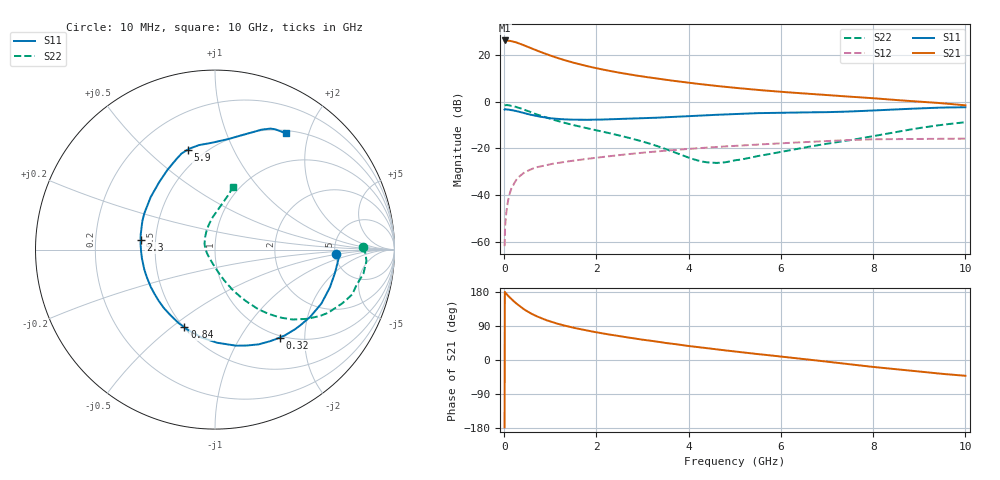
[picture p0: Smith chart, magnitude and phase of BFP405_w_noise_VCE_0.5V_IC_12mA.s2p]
! Infineon Technologies  Discrete & RF Semiconductors
! BFP405
! VCE =  0.5 V,  IC =  12 mA
! Common Emitter S-Parameters:  Jan 2016
# GHz  S  MA  R  50
!  f  S11  S21  S12  S22
! GHz  MAG  ANG  MAG  ANG  MAG  ANG  MAG  ANG
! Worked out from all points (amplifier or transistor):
!   233 points, 10 MHz to 10 GHz, reference 50 ohm
!   highest |S21| = 26.2 dB at 20 MHz (marker M1)
!   |S21| within 3 dB of that: start of sweep to 545.4 MHz
!   unconditionally stable (mu >= 1): start of sweep to 41.16 MHz; 1.35 GHz to end of sweep
!   at 200 MHz: K = 0.36, MSG = 30.7 dB, |S12| = -35.7 dB
!   at 1.74 GHz: K = 1.17, MAG = 17.6 dB, |S12| = -24.7 dB
!   at 10 GHz: K = 1.70, MAG = 2.2 dB, |S12| = -15.8 dB
!   lowest NFmin = 1.77 dB at 900 MHz
!   S11 on the Smith chart (normalised r, x): 10 MHz: 5.11, -0.42; 320 MHz: 0.97, -1.51; 840 MHz: 0.50, -0.56; 2.3 GHz: 0.41, +0.05; 5.9 GHz: 0.41, +0.68; 10 GHz: 0.54, +1.65
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0.01  0.6744 -1.9  20.32 -177.8  0.0008 103.8  0.8243 1.0
0.02  0.6909 -3.9  20.46 177.6  0.002 94.7  0.8377 -1.3
0.1  0.6741 -18.1  20.27 167.7  0.0089 82.0  0.8377 -9.2
0.2  0.6496 -35.2  19.32 156.1  0.0164 73.6  0.8048 -18.0
0.26  0.629 -44.9  18.62 149.6  0.0208 68.5  0.7681 -23.1
0.32  0.6081 -53.7  17.71 143.8  0.0245 64.5  0.7347 -27.3
0.4  0.5814 -65.2  16.56 136.3  0.0286 60.2  0.6912 -32.4
0.5  0.5482 -77.6  15.12 128.5  0.0325 55.8  0.6385 -37.2
0.6  0.5188 -88.8  13.77 121.6  0.0362 52.0  0.5831 -41.9
0.7  0.4948 -99.0  12.54 115.7  0.0392 49.2  0.5346 -45.4
0.84  0.4653 -111.5  11.11 108.6  0.0422 46.6  0.4835 -48.9
1  0.4419 -124.1  9.715 101.6  0.0457 44.2  0.4269 -52.8
1.2  0.4239 -137.9  8.352 94.3  0.0491 42.5  0.3765 -56.0
1.42  0.4131 -150.7  7.202 87.5  0.053 41.0  0.3291 -59.4
1.68  0.409 -163.5  6.164 80.6  0.0573 39.9  0.2862 -62.6
2.3  0.4181 172.6  4.535 66.9  0.068 37.3  0.2094 -69.7
3.4  0.4571 143.0  3.037 47.0  0.0873 31.2  0.1048 -87.7
5.1  0.5481 113.1  1.938 21.1  0.1144 19.3  0.0569 167.1
5.9  0.5769 105.4  1.654 10.4  0.1265 13.4  0.0805 134.5
6.8  0.5917 94.5  1.425 -1.6  0.1402 6.2  0.1163 113.3
8.4  0.6753 73.7  1.101 -23.2  0.1574 -9.5  0.2144 87.1
10  0.7586 58.7  0.833 -41.6  0.1613 -21.2  0.3625 74.0
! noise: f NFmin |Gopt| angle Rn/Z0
0.9  1.77  0.15  3  0.32
1.8  2.01  0.1  -12  0.29
2.4  2.13  0.09  -14  0.31
3  2.17  0.05  -9  0.29
4  2.32  0.08  -88  0.29
5  2.7  0.15  -96  0.31
